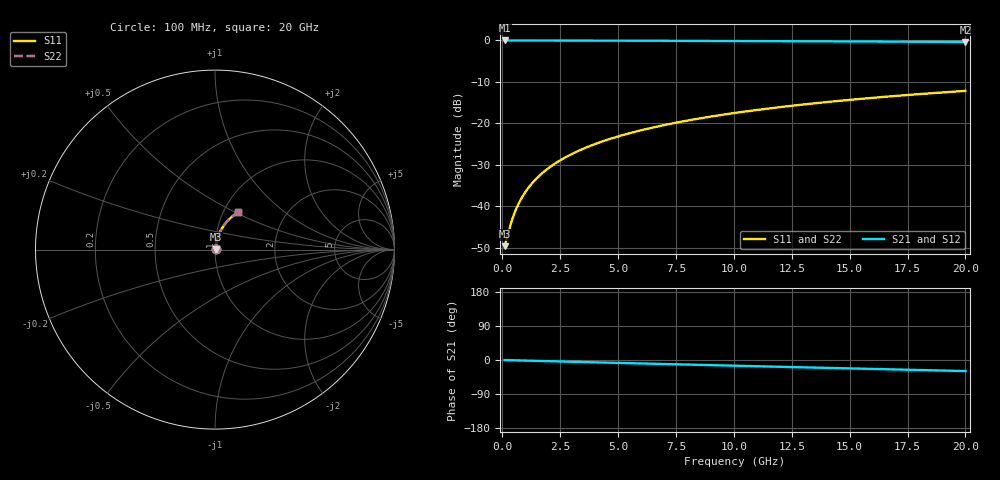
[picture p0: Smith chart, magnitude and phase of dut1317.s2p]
! Touchstone file exported from HFSS 2026.1.0
!  File:  C:/ffzhzh/LocalFiles/Ansys_Project_Files/temp_train_BSMRDL_1317_1783178458_43440.aedt
!  Generated:  11:22:04 PM Jul  4, 2026
!  Design:  BSMRDL
!  Project:  temp_train_BSMRDL_1317_1783178458_43440
! Variables:
!  h_bsmrdl = 5.37um
!  h_ox = 20um
!  h_rdl = 5um
!  h_sub = 80um
!  h_tmrdl = 5um
!  h_tsv = 80um
!  h_via = 3um
!  l_bsmrdl = 456.92um
!  l_sub = 856.92um
!  l_tmrdl = 200um
!  m_sub = 200um
!  pitch = 25.31um
!  r_tsv = 6um
!  s_tmrdl = 10um
!  w_bsmrdl = 10.56um
!  w_sub = 500um
!  w_tmrdl = 12um
!  x_tsv_center1 = 206um
!  x_tsv_center2 = 673.48um
!  x_tsv_center3 = 885.48um
!  x_tsv_center4 = 1352.96um
!  x_tsv_center5 = 1564.96um
!  x_tsv_center6 = 2032.44um
# GHz S MA R 50.000000
! Terminal data exported
! Port[1] = BSM_RDL1_1_T1
! Port[2] = BSM_RDL1_1_T2
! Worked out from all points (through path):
!   200 points, 100 MHz to 20 GHz, reference 50 ohm
!   highest |S21| = -0.03 dB at 100 MHz (marker M1); lowest = -0.4 dB at 20 GHz (marker M2)
!   group delay of S21, straight-line fit = 4.05 ps
!   lowest |S11| = -49.6 dB at 100 MHz (marker M3), VSWR 1.01, Z = 50.3 + j0.155 ohm
!   |S11| at or under -10 dB: start of sweep to end of sweep
!   |S22| runs from -49.6 to -12.2 dB; largest |S21 - S12| = 2.5e-15
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0.1  0.003299 27.9  0.9971 -0.2  0.9971 -0.2  0.003299 27.9
! Gamma 0 0 0 0
! Port Impedance 50 0 50 0
0.3  0.005303 56.0  0.9969 -0.5  0.9969 -0.5  0.005309 56.4
0.4  0.006576 62.7  0.9968 -0.6  0.9968 -0.6  0.006588 63.0
0.5  0.007913 67.0  0.9967 -0.8  0.9967 -0.8  0.007931 67.3
0.6  0.009285 70.0  0.9967 -0.9  0.9967 -0.9  0.009306 70.2
0.7  0.01067 72.2  0.9966 -1.1  0.9966 -1.1  0.0107 72.3
0.9  0.01348 75.0  0.9965 -1.4  0.9965 -1.4  0.01351 75.0
1.2  0.0177 77.2  0.9963 -1.9  0.9963 -1.9  0.01773 77.2
1.4  0.02051 78.0  0.9961 -2.2  0.9961 -2.2  0.02053 78.0
1.7  0.0247 78.8  0.9959 -2.6  0.9959 -2.6  0.02472 78.8
2.2  0.03164 79.3  0.9954 -3.4  0.9954 -3.4  0.03165 79.2
2.8  0.03988 79.2  0.9948 -4.3  0.9948 -4.3  0.03988 79.2
3.5  0.04939 78.8  0.9938 -5.4  0.9938 -5.4  0.04939 78.8
4.2  0.05879 78.2  0.9928 -6.5  0.9928 -6.5  0.05879 78.2
5  0.06939 77.3  0.9915 -7.7  0.9915 -7.7  0.06939 77.3
5.9  0.08115 76.2  0.99 -9.0  0.99 -9.0  0.08115 76.2
6.8  0.09273 75.1  0.9883 -10.3  0.9883 -10.3  0.09273 75.1
8.3  0.1117 73.2  0.9855 -12.6  0.9855 -12.6  0.1117 73.2
10.1  0.1339 70.8  0.9818 -15.2  0.9818 -15.2  0.1339 70.9
13.4  0.1732 66.5  0.9743 -19.9  0.9743 -19.9  0.1732 66.6
16.7  0.2106 62.2  0.9658 -24.6  0.9658 -24.6  0.2106 62.2
20  0.2459 57.9  0.9567 -29.2  0.9567 -29.2  0.2459 57.9
